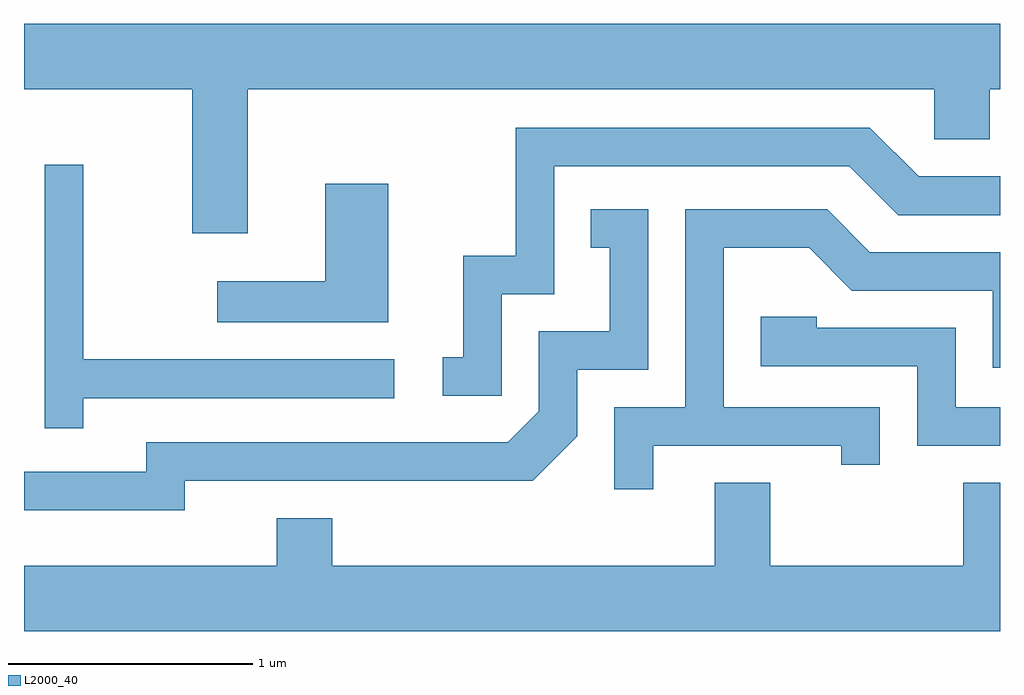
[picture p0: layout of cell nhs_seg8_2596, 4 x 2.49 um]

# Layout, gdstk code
import gdstk
lib = gdstk.Library(unit=1e-6, precision=1e-09)
def P(c, l, *ps):  # polygons
    for p in ps: c.add(gdstk.Polygon(p, *l))
L2000_40 = (2000, 40)

nhs_seg8_2596 = lib.new_cell('nhs_seg8_2596')
P(nhs_seg8_2596, L2000_40, [(264.529,1809.776),(267.341,1809.776),(267.341,1809.571),(267.569,1809.571),(267.569,1809.776),(267.611,1809.776),(267.611,1810.044),(263.611,1810.044),(263.611,1809.776),(264.301,1809.776),(264.301,1809.186),(264.529,1809.186)],
  [(265.569,1808.936),(265.784,1808.936),(265.784,1809.461),(266.994,1809.461),(267.194,1809.261),(267.611,1809.261),(267.611,1809.419),(267.277,1809.419),(267.077,1809.619),(265.626,1809.619),(265.626,1809.094),(265.411,1809.094),(265.411,1808.679),(265.328,1808.679),(265.328,1808.521),(265.569,1808.521)],
  [(263.854,1808.511),(265.128,1808.511),(265.128,1808.669),(263.854,1808.669),(263.854,1809.468),(263.696,1809.468),(263.696,1808.388),(263.854,1808.388)],
  [(265.104,1809.389),(264.846,1809.389),(264.846,1808.989),(264.403,1808.989),(264.403,1808.821),(265.104,1808.821)],
  [(266.189,1808.316),(266.961,1808.316),(266.961,1808.238),(267.119,1808.238),(267.119,1808.474),(266.479,1808.474),(266.479,1809.126),(266.829,1809.126),(267.004,1808.951),(267.581,1808.951),(267.581,1808.636),(267.611,1808.636),(267.611,1809.109),(267.077,1809.109),(266.902,1809.284),(266.321,1809.284),(266.321,1808.474),(266.031,1808.474),(266.031,1808.138),(266.189,1808.138)],
  [(264.269,1808.171),(265.697,1808.171),(265.879,1808.354),(265.879,1808.626),(266.169,1808.626),(266.169,1809.284),(265.933,1809.284),(265.933,1809.126),(266.011,1809.126),(266.011,1808.784),(265.721,1808.784),(265.721,1808.457),(265.594,1808.329),(264.111,1808.329),(264.111,1808.209),(263.611,1808.209),(263.611,1808.051),(264.269,1808.051)],
  [(267.611,1808.474),(267.429,1808.474),(267.429,1808.799),(266.859,1808.799),(266.859,1808.844),(266.631,1808.844),(266.631,1808.641),(267.271,1808.641),(267.271,1808.316),(267.611,1808.316)],
  [(267.611,1808.164),(267.461,1808.164),(267.461,1807.824),(266.669,1807.824),(266.669,1808.164),(266.441,1808.164),(266.441,1807.824),(264.874,1807.824),(264.874,1808.019),(264.646,1808.019),(264.646,1807.824),(263.611,1807.824),(263.611,1807.556),(267.611,1807.556)])

lib.write_gds('nhs_seg8_2596.gds')
